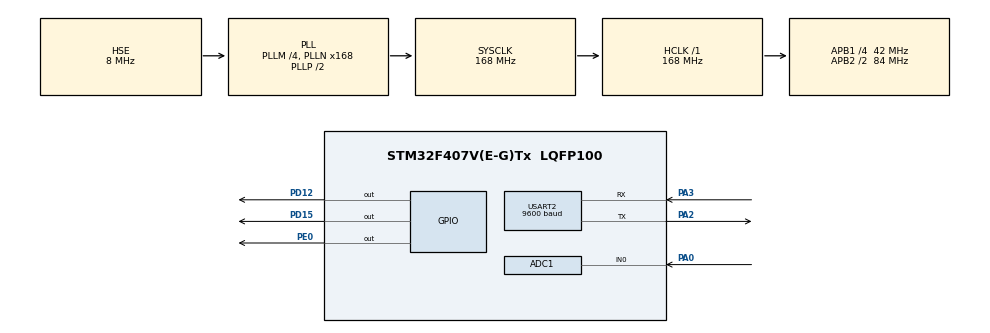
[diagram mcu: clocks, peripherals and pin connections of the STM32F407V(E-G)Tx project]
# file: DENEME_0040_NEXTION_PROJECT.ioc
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Mcu.Family=STM32F4
RCC.PLLSourceVirtual=RCC_PLLSOURCE_HSE
PH0-OSC_IN.Signal=RCC_OSC_IN
Dma.ADC1.0.Instance=DMA2_Stream0
RCC.CortexFreq_Value=168000000
ADC1.Rank-0\#ChannelRegularConversion=1
ADC1.ContinuousConvMode=ENABLE
RCC.APB1CLKDivider=RCC_HCLK_DIV4
USART2.BaudRate=9600
RCC.SYSCLKSource=RCC_SYSCLKSOURCE_PLLCLK
ProjectManager.StackSize=0x400
PA0-WKUP.Signal=ADCx_IN0
PA3.Mode=Asynchronous
Dma.ADC1.0.PeriphDataAlignment=DMA_PDATAALIGN_HALFWORD
ProjectManager.TargetToolchain=STM32CubeIDE
Dma.ADC1.0.Mode=DMA_CIRCULAR
RCC.HCLKFreq_Value=168000000
ADC1.Resolution=ADC_RESOLUTION_8B
Dma.ADC1.0.Priority=DMA_PRIORITY_LOW
RCC.APB2TimFreq_Value=168000000
Dma.ADC1.0.Direction=DMA_PERIPH_TO_MEMORY
NVIC.DMA2_Stream0_IRQn=true\:0\:0\:false\:false\:true\:false\:true
RCC.LSE_VALUE=32768
Dma.ADC1.0.MemDataAlignment=DMA_MDATAALIGN_HALFWORD
RCC.AHBFreq_Value=168000000
PH0-OSC_IN.Mode=HSE-External-Oscillator
ADC1.Channel-0\#ChannelRegularConversion=ADC_CHANNEL_0
RCC.HSE_VALUE=8000000
board=custom
RCC.VCOOutputFreq_Value=336000000
RCC.APB2Freq_Value=84000000
Dma.ADC1.0.PeriphInc=DMA_PINC_DISABLE
PH1-OSC_OUT.Signal=RCC_OSC_OUT
SH.ADCx_IN0.0=ADC1_IN0,IN0
ADC1.DMAContinuousRequests=ENABLE
Mcu.Name=STM32F407V(E-G)Tx
PE0.Signal=GPIO_Output
ADC1.SamplingTime-0\#ChannelRegularConversion=ADC_SAMPLETIME_56CYCLES
PA2.Signal=USART2_TX
PH1-OSC_OUT.Mode=HSE-External-Oscillator
RCC.48MHZClocksFreq_Value=84000000
RCC.SYSCLKFreq_VALUE=168000000
Mcu.Package=LQFP100
ADC1.master=1
USART2.VirtualMode=VM_ASYNC
PD12.Signal=GPIO_Output
Dma.ADC1.0.MemInc=DMA_MINC_ENABLE
ProjectManager.HeapSize=0x200
RCC.HSI_VALUE=16000000
NVIC.PriorityGroup=NVIC_PRIORITYGROUP_4
ADC1.NbrOfConversionFlag=1
RCC.APB2CLKDivider=RCC_HCLK_DIV2
RCC.PLLM=4
RCC.PLLN=168
RCC.APB1TimFreq_Value=84000000
PA2.Mode=Asynchronous
Dma.ADC1.0.FIFOMode=DMA_FIFOMODE_DISABLE
RCC.APB1Freq_Value=42000000
Dma.Request0=ADC1
PD15.Signal=GPIO_Output
PA3.Signal=USART2_RX

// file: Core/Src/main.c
/* USER CODE BEGIN Header */
/**
  ******************************************************************************
  * @file           : main.c
  * @brief          : Main program body
  ******************************************************************************
  * @attention
  *
  * <h2><center>&copy; Copyright (c) 2021 STMicroelectronics.
  * All rights reserved.</center></h2>
  *
  * This software component is licensed by ST under BSD 3-Clause license,
  * the "License"; You may not use this file except in compliance with the
  * License. You may obtain a copy of the License at:
  *                        opensource.org/licenses/BSD-3-Clause
  *
  ******************************************************************************
  */
/* USER CODE END Header */
#include "main.h"

/* USER CODE BEGIN Includes */
#include "string.h"
#include "stdbool.h"
#include "stdio.h"
/* USER CODE END Includes */

ADC_HandleTypeDef hadc1;
DMA_HandleTypeDef hdma_adc1;

UART_HandleTypeDef huart2;

/* USER CODE BEGIN PV */
uint8_t adc_value ;
uint8_t ldr_value ;
char data[7];
char MyMessage[30] ;
char CmdEnd[3] = { 0xFF, 0xFF, 0xFF} ;

int green_color = 34800 ; // The number is equals to Green in Nextion
int red_color = 63488 ; // The number is equals to Red in Nextion

bool bool_value  = false ;
bool sys_bool = false ;

/* USER CODE END PV */

void SystemClock_Config(void);
static void MX_GPIO_Init(void);
static void MX_DMA_Init(void);
static void MX_ADC1_Init(void);
static void MX_USART2_UART_Init(void);

/* USER CODE BEGIN 0 */

void SAME_THING()
{
	HAL_UART_Transmit(&huart2, (uint8_t *)MyMessage, strlen(MyMessage), 100);
	HAL_UART_Transmit(&huart2, (uint8_t *)CmdEnd, 3, 50);
}

void DEFAULT_NEXTION_SCREEN() // The fonction only works one time.
{
	// --------- Default t0

	sprintf((char *)MyMessage,"t0.txt=\"Sistem Kapali\"");
	SAME_THING();

	sprintf((char *)MyMessage,"t0.bco=%d",red_color);
	SAME_THING();

	// ----------- Default t4

	sprintf((char*)MyMessage,"t4.txt=\"Sistem Kapali\"");
	SAME_THING();

	sprintf((char *)MyMessage,"t4.bco=%d",red_color);
	SAME_THING();
	// ---------- Default b0

	sprintf((char *)MyMessage,"b0.bco=%d",red_color);
	SAME_THING();

	sprintf((char *)MyMessage,"b0.txt=\"Kapali\"");
	SAME_THING();

	// --------- Default b1

	sprintf((char *)MyMessage,"b1.txt=\"Kapali\"");
	SAME_THING();

	sprintf((char *)MyMessage,"b1.bco=%d",red_color);
	SAME_THING();

}

void SYSTEM_CONTROL()
{
	HAL_UART_Receive(&huart2, (uint8_t *)data, 50, 100);
	if (data[0] == 0x65 && data[1] == 0x00 && data[2] == 0x03 && data[3] == 0x01 && data[4] == 0xFF && data[5] == 0xFF && data[6] == 0xFF)
	{
		sys_bool = true ;
		if (bool_value) bool_value = false ;
		else bool_value = true ;
	}
	else sys_bool = false ;

	if (sys_bool)
	{
		if (bool_value)
		{
			HAL_GPIO_WritePin(GPIOD, GPIO_PIN_15, GPIO_PIN_SET);
			// -------------------------------------------------------------------------
			sprintf((char *)MyMessage,"b0.txt=\"Acik\""); // Change txt of b0
			SAME_THING();

			sprintf((char *)MyMessage,"b0.bco=%d",green_color); // Change bco of b0
			SAME_THING();

			// -----------------------------------------------------------------------

			sprintf((char *)MyMessage,"t0.txt=\"Sistem Acik\""); // Change txt of t0
			SAME_THING();

			sprintf((char *)MyMessage,"t0.bco=%d",green_color); // Change bco of t0
			SAME_THING();

			// ----------------------------------------------------------------------

			sprintf((char *)MyMessage,"t4.bco=%d",green_color); // Change bco of t4
			SAME_THING();

			sprintf((char *)MyMessage,"t4.txt=\"Veri Bekleniyor..\""); // Change txt of t4
			SAME_THING();

		}
		else
		{
			HAL_GPIO_WritePin(GPIOD, GPIO_PIN_15, GPIO_PIN_RESET);

			// ------------------------------------------------------------

			sprintf((char *)MyMessage,"b0.bco=%d",red_color); //Change bco of b0
			SAME_THING();

			sprintf((char *)MyMessage,"b0.txt=\"Kapali\""); // Change txt of b0
			SAME_THING();

			// ------------------------------------------------------------

			sprintf((char *)MyMessage,"t0.txt=\"Sistem Kapali\""); // Change txt of t0
			SAME_THING();

			sprintf((char *)MyMessage,"t0.bco=%d",red_color); // Change bco of t0
			SAME_THING();

			// ------------------------------------------------------------

			sprintf((char *)MyMessage,"t4.txt=\"Kapali\""); // Change txt of t4
			SAME_THING();

			sprintf((char *)MyMessage,"t4.bco=%d",red_color); //Change bco of t4
			SAME_THING();

			// ------------------------------------------------------------

			sprintf((char *)MyMessage,"b1.txt=\"Kapali\"");
			SAME_THING();

			sprintf((char *)MyMessage,"b1.bco=%d",red_color);
			SAME_THING();

			// -------------------------------------------------------------

			HAL_GPIO_WritePin(GPIOE, GPIO_PIN_0, GPIO_PIN_RESET);

			sys_bool = false ;

		}
	}

	for(int i = 0 ; i<7;i++)
		data[i] = '\0'; // Clear the data variable

}
/* USER CODE END 0 */

int main(void)
{

  /* MCU Configuration--------------------------------------------------------*/

  /* Reset of all peripherals, Initializes the Flash interface and the Systick. */
  HAL_Init();

  /* Configure the system clock */
  SystemClock_Config();

  /* Initialize all configured peripherals */
  MX_GPIO_Init();
  MX_DMA_Init();
  MX_ADC1_Init();
  MX_USART2_UART_Init();
  /* USER CODE BEGIN 2 */
  HAL_ADC_Start_DMA(&hadc1, (uint32_t *) &adc_value, 1); // Read adc through DMA

  DEFAULT_NEXTION_SCREEN();
  /* USER CODE END 2 */

  /* Infinite loop */
  /* USER CODE BEGIN WHILE */
  while (1) 					// Link of the project ----------> https://www.youtube.com/watch?v=psmg-DtpUC4
  {
    /* USER CODE END WHILE */

    /* USER CODE BEGIN 3 */
	  ldr_value = adc_value ;

	  SYSTEM_CONTROL();
	  if (bool_value)
	  {
			if (ldr_value < 195)
			{

				sprintf((char *)MyMessage,"t4.txt=\"Karanlik\""); // Change txt of t4
				SAME_THING();

				// ------------------------------------------------------------

				HAL_GPIO_WritePin(GPIOE, GPIO_PIN_0, GPIO_PIN_SET); // Led on

				// ------------------------------------------------------------

				sprintf((char *)MyMessage,"b1.txt=\"Acik\""); // Change txt of b1
				SAME_THING();

				sprintf((char*)MyMessage,"b1.bco=%d",green_color); // Change bco of b1
				SAME_THING();

			}
			else
			{
				HAL_GPIO_WritePin(GPIOE, GPIO_PIN_0, GPIO_PIN_RESET);

				// ------------------------------------------------------------

				sprintf((char *)MyMessage,"t4.txt=\"Aydinlik\""); // Change txt of t4
				SAME_THING();

				// ------------------------------------------------------------

				sprintf((char *)MyMessage,"b1.txt=\"Kapali\""); // Change txt of b1
				SAME_THING();

				sprintf((char*)MyMessage,"b1.bco=%d",red_color); // Change bco of b1
				SAME_THING();

			}
	  }
  }
  /* USER CODE END 3 */
}

void SystemClock_Config(void)
{
  RCC_OscInitTypeDef RCC_OscInitStruct = {0};
  RCC_ClkInitTypeDef RCC_ClkInitStruct = {0};

  /** Configure the main internal regulator output voltage
  */
  __HAL_RCC_PWR_CLK_ENABLE();
  __HAL_PWR_VOLTAGESCALING_CONFIG(PWR_REGULATOR_VOLTAGE_SCALE1);
  /** Initializes the RCC Oscillators according to the specified parameters
  * in the RCC_OscInitTypeDef structure.
  */
  RCC_OscInitStruct.OscillatorType = RCC_OSCILLATORTYPE_HSE;
  RCC_OscInitStruct.HSEState = RCC_HSE_ON;
  RCC_OscInitStruct.PLL.PLLState = RCC_PLL_ON;
  RCC_OscInitStruct.PLL.PLLSource = RCC_PLLSOURCE_HSE;
  RCC_OscInitStruct.PLL.PLLM = 4;
  RCC_OscInitStruct.PLL.PLLN = 168;
  RCC_OscInitStruct.PLL.PLLP = RCC_PLLP_DIV2;
  RCC_OscInitStruct.PLL.PLLQ = 4;
  if (HAL_RCC_OscConfig(&RCC_OscInitStruct) != HAL_OK)
  {
    Error_Handler();
  }
  /** Initializes the CPU, AHB and APB buses clocks
  */
  RCC_ClkInitStruct.ClockType = RCC_CLOCKTYPE_HCLK|RCC_CLOCKTYPE_SYSCLK
                              |RCC_CLOCKTYPE_PCLK1|RCC_CLOCKTYPE_PCLK2;
  RCC_ClkInitStruct.SYSCLKSource = RCC_SYSCLKSOURCE_PLLCLK;
  RCC_ClkInitStruct.AHBCLKDivider = RCC_SYSCLK_DIV1;
  RCC_ClkInitStruct.APB1CLKDivider = RCC_HCLK_DIV4;
  RCC_ClkInitStruct.APB2CLKDivider = RCC_HCLK_DIV2;

  if (HAL_RCC_ClockConfig(&RCC_ClkInitStruct, FLASH_LATENCY_5) != HAL_OK)
  {
    Error_Handler();
  }
}

static void MX_ADC1_Init(void)
{

  ADC_ChannelConfTypeDef sConfig = {0};

  /** Configure the global features of the ADC (Clock, Resolution, Data Alignment and number of conversion)
  */
  hadc1.Instance = ADC1;
  hadc1.Init.ClockPrescaler = ADC_CLOCK_SYNC_PCLK_DIV4;
  hadc1.Init.Resolution = ADC_RESOLUTION_8B;
  hadc1.Init.ScanConvMode = DISABLE;
  hadc1.Init.ContinuousConvMode = ENABLE;
  hadc1.Init.DiscontinuousConvMode = DISABLE;
  hadc1.Init.ExternalTrigConvEdge = ADC_EXTERNALTRIGCONVEDGE_NONE;
  hadc1.Init.ExternalTrigConv = ADC_SOFTWARE_START;
  hadc1.Init.DataAlign = ADC_DATAALIGN_RIGHT;
  hadc1.Init.NbrOfConversion = 1;
  hadc1.Init.DMAContinuousRequests = ENABLE;
  hadc1.Init.EOCSelection = ADC_EOC_SINGLE_CONV;
  if (HAL_ADC_Init(&hadc1) != HAL_OK)
  {
    Error_Handler();
  }
  /** Configure for the selected ADC regular channel its corresponding rank in the sequencer and its sample time.
  */
  sConfig.Channel = ADC_CHANNEL_0;
  sConfig.Rank = 1;
  sConfig.SamplingTime = ADC_SAMPLETIME_56CYCLES;
  if (HAL_ADC_ConfigChannel(&hadc1, &sConfig) != HAL_OK)
  {
    Error_Handler();
  }

}

static void MX_USART2_UART_Init(void)
{

  huart2.Instance = USART2;
  huart2.Init.BaudRate = 9600;
  huart2.Init.WordLength = UART_WORDLENGTH_8B;
  huart2.Init.StopBits = UART_STOPBITS_1;
  huart2.Init.Parity = UART_PARITY_NONE;
  huart2.Init.Mode = UART_MODE_TX_RX;
  huart2.Init.HwFlowCtl = UART_HWCONTROL_NONE;
  huart2.Init.OverSampling = UART_OVERSAMPLING_16;
  if (HAL_UART_Init(&huart2) != HAL_OK)
  {
    Error_Handler();
  }

}

static void MX_DMA_Init(void)
{

  /* DMA controller clock enable */
  __HAL_RCC_DMA2_CLK_ENABLE();

  /* DMA interrupt init */
  /* DMA2_Stream0_IRQn interrupt configuration */
  HAL_NVIC_SetPriority(DMA2_Stream0_IRQn, 0, 0);
  HAL_NVIC_EnableIRQ(DMA2_Stream0_IRQn);

}

static void MX_GPIO_Init(void)
{
  GPIO_InitTypeDef GPIO_InitStruct = {0};

  /* GPIO Ports Clock Enable */
  __HAL_RCC_GPIOH_CLK_ENABLE();
  __HAL_RCC_GPIOA_CLK_ENABLE();
  __HAL_RCC_GPIOD_CLK_ENABLE();
  __HAL_RCC_GPIOE_CLK_ENABLE();

  /*Configure GPIO pin Output Level */
  HAL_GPIO_WritePin(GPIOD, GPIO_PIN_15, GPIO_PIN_RESET);

  /*Configure GPIO pin Output Level */
  HAL_GPIO_WritePin(GPIOE, GPIO_PIN_0, GPIO_PIN_RESET);

  /*Configure GPIO pin : PD15 */
  GPIO_InitStruct.Pin = GPIO_PIN_15;
  GPIO_InitStruct.Mode = GPIO_MODE_OUTPUT_PP;
  GPIO_InitStruct.Pull = GPIO_NOPULL;
  GPIO_InitStruct.Speed = GPIO_SPEED_FREQ_LOW;
  HAL_GPIO_Init(GPIOD, &GPIO_InitStruct);

  /*Configure GPIO pin : PE0 */
  GPIO_InitStruct.Pin = GPIO_PIN_0;
  GPIO_InitStruct.Mode = GPIO_MODE_OUTPUT_PP;
  GPIO_InitStruct.Pull = GPIO_NOPULL;
  GPIO_InitStruct.Speed = GPIO_SPEED_FREQ_LOW;
  HAL_GPIO_Init(GPIOE, &GPIO_InitStruct);

}

void Error_Handler(void)
{
  __disable_irq();
  while (1)
  {
  }
}

/************************ (C) COPYRIGHT STMicroelectronics *****END OF FILE****/
